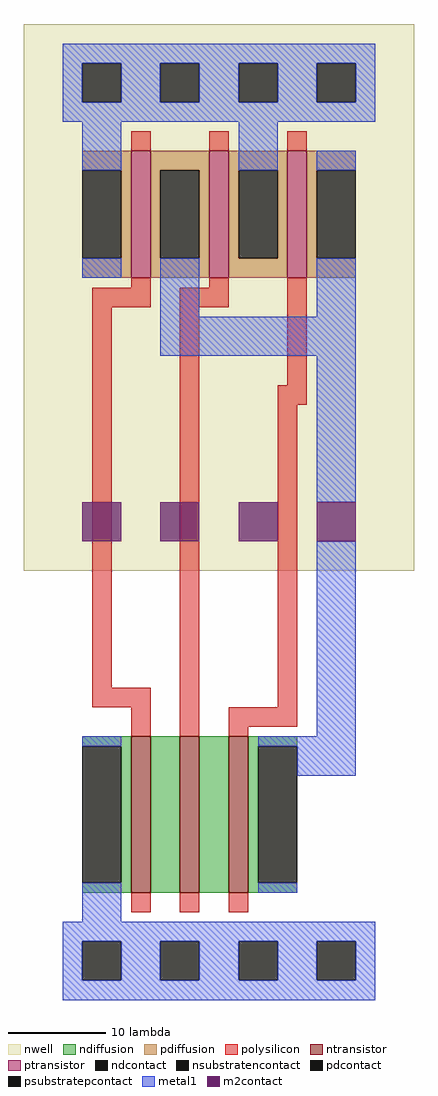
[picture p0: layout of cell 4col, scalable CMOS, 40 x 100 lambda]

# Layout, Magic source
magic
tech scmos
<< nwell >>
rect -6 40 34 96
<< ntransistor >>
rect 5 7 7 23
rect 10 7 12 23
rect 15 7 17 23
<< ptransistor >>
rect 5 70 7 83
rect 13 70 15 83
rect 21 70 23 83
<< ndiffusion >>
rect 0 22 5 23
rect 4 8 5 22
rect 0 7 5 8
rect 7 7 10 23
rect 12 7 15 23
rect 17 22 22 23
rect 17 8 18 22
rect 17 7 22 8
<< pdiffusion >>
rect 0 81 5 83
rect 4 72 5 81
rect 0 70 5 72
rect 7 81 13 83
rect 7 72 8 81
rect 12 72 13 81
rect 7 70 13 72
rect 15 81 21 83
rect 15 72 16 81
rect 20 72 21 81
rect 15 70 21 72
rect 23 81 28 83
rect 23 72 24 81
rect 23 70 28 72
<< ndcontact >>
rect 0 8 4 22
rect 18 8 22 22
<< pdcontact >>
rect 0 72 4 81
rect 8 72 12 81
rect 16 72 20 81
rect 24 72 28 81
<< psubstratepcontact >>
rect 0 -2 4 2
rect 8 -2 12 2
rect 16 -2 20 2
rect 24 -2 28 2
<< nsubstratencontact >>
rect 0 88 4 92
rect 8 88 12 92
rect 16 88 20 92
rect 24 88 28 92
<< polysilicon >>
rect 5 83 7 85
rect 13 83 15 85
rect 21 83 23 85
rect 5 69 7 70
rect 13 69 15 70
rect 1 67 7 69
rect 10 67 15 69
rect 1 28 3 67
rect 1 26 7 28
rect 5 23 7 26
rect 10 23 12 67
rect 21 59 23 70
rect 20 57 23 59
rect 20 26 22 57
rect 15 24 22 26
rect 15 23 17 24
rect 5 5 7 7
rect 10 5 12 7
rect 15 5 17 7
<< metal1 >>
rect -2 92 30 94
rect -2 88 0 92
rect 4 88 8 92
rect 12 88 16 92
rect 20 88 24 92
rect 28 88 30 92
rect -2 86 30 88
rect 0 81 4 86
rect 16 81 20 86
rect 0 70 4 72
rect 24 81 28 83
rect 8 66 12 72
rect 24 66 28 72
rect 8 62 28 66
rect 24 47 28 62
rect 24 23 28 43
rect 0 22 4 23
rect 0 4 4 8
rect 18 22 28 23
rect 22 19 28 22
rect 18 7 22 8
rect -2 2 30 4
rect -2 -2 0 2
rect 4 -2 8 2
rect 12 -2 16 2
rect 20 -2 24 2
rect 28 -2 30 2
rect -2 -4 30 -2
<< m2contact >>
rect 0 43 4 47
rect 8 43 12 47
rect 16 43 20 47
rect 24 43 28 47
<< end >>
